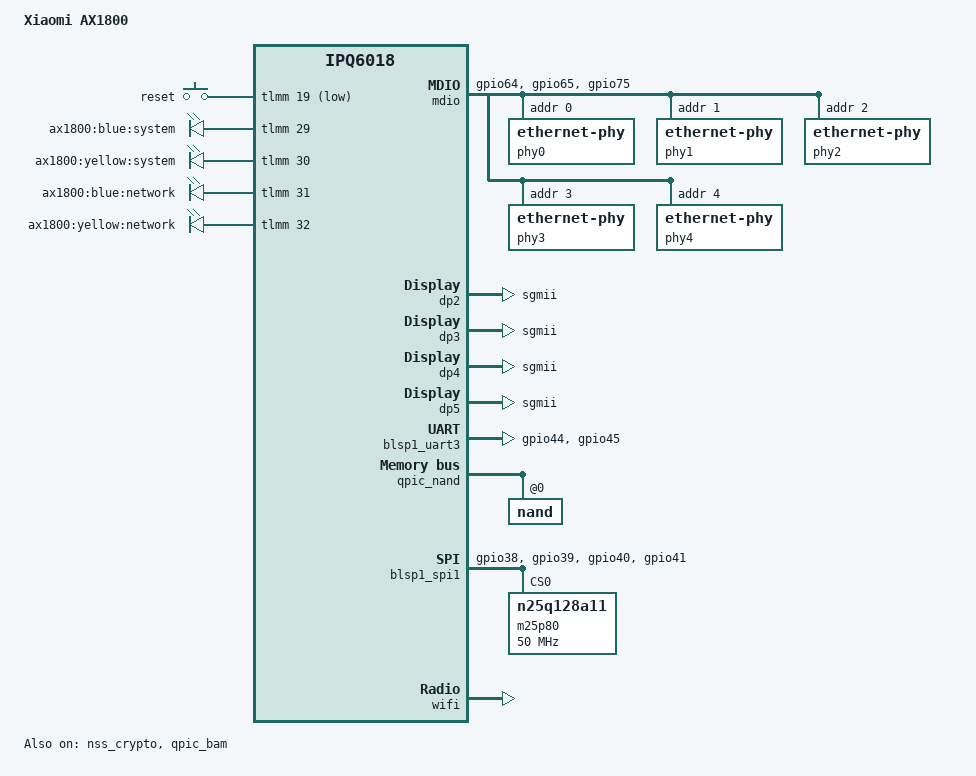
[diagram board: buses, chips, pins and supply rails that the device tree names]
// SPDX-License-Identifier: GPL-2.0-or-later OR MIT

/dts-v1/;

#include "ipq6018.dtsi"
#include "ipq6018-ess.dtsi"
#include "ipq6018-cpr-regulator.dtsi"
#include "ipq6018-nss.dtsi"

#include <dt-bindings/input/input.h>
#include <dt-bindings/gpio/gpio.h>

/ {
	#address-cells = <0x2>;
	#size-cells = <0x2>;
	model = "Xiaomi AX1800";
	compatible = "xiaomi,ax1800", "qcom,ipq6018";
	interrupt-parent = <&intc>;
	qcom,msm-id = <0x192 0x0>;

	aliases {
		led-boot = &led_yellow;
		led-failsafe = &led_blue;
		led-running = &led_blue;
		led-upgrade = &led_yellow;
		serial0 = &blsp1_uart3;

		ethernet1 = "/soc/dp2";
		ethernet2 = "/soc/dp3";
		ethernet3 = "/soc/dp4";
		ethernet4 = "/soc/dp5";
	};

	chosen {
		bootargs-append = " root=/dev/ubiblock0_1 swiotlb=1 coherent_pool=2M";
	};

	soc {
		mdio: mdio@90000 {
			pinctrl-0 = <&mdio_pins>;
			pinctrl-names = "default";
			phy-reset-gpio = <&tlmm 75 0>;
			status = "ok";

			phy0: ethernet-phy@0 {
				reg = <0>;
			};
			phy1: ethernet-phy@1 {
				reg = <1>;
			};
			phy2: ethernet-phy@2 {
				reg = <2>;
			};
			phy3: ethernet-phy@3 {
				reg = <3>;
			};
			phy4: ethernet-phy@4 {
				reg = <4>;
			};
		};

		ess-switch@3a000000 {
			switch_cpu_bmp = <0x1>;  /* cpu port bitmap */
			switch_lan_bmp = <0x1e>; /* lan port bitmap */
			switch_wan_bmp = <0x20>; /* wan port bitmap */
			switch_inner_bmp = <0xc0>; /*inner port bitmap*/
			switch_mac_mode = <0x0>; /* mac mode for uniphy 0*/
			switch_mac_mode1 = <0xff>; /* mac mode for uniphy 1*/
			switch_mac_mode2 = <0xff>; /* mac mode for uniphy 2*/

			qcom,port_phyinfo {
				port@0 {
					port_id = <1>;
					phy_address = <0>;
				};
				port@1 {
					port_id = <2>;
					phy_address = <1>;
				};
				port@2 {
					port_id = <3>;
					phy_address = <2>;
				};
				port@3 {
					port_id = <4>;
					phy_address = <3>;
				};
				port@4 {
					port_id = <5>;
					phy_address = <4>;
				};
			};
		};

		dp2 {
			device_type = "network";
			compatible = "qcom,nss-dp";
			qcom,id = <2>;
			reg = <0x3a001200 0x200>;
			qcom,mactype = <0>;
			local-mac-address = [000000000000];
			qcom,link-poll = <1>;
			qcom,phy-mdio-addr = <1>;
			phy-mode = "sgmii";
		};

		dp3 {
			device_type = "network";
			compatible = "qcom,nss-dp";
			qcom,id = <3>;
			reg = <0x3a001400 0x200>;
			qcom,mactype = <0>;
			local-mac-address = [000000000000];
			qcom,link-poll = <1>;
			qcom,phy-mdio-addr = <2>;
			phy-mode = "sgmii";
		};

		dp4 {
			device_type = "network";
			compatible = "qcom,nss-dp";
			qcom,id = <4>;
			reg = <0x3a001600 0x200>;
			qcom,mactype = <0>;
			local-mac-address = [000000000000];
			qcom,link-poll = <1>;
			qcom,phy-mdio-addr = <3>;
			phy-mode = "sgmii";
		};

		dp5 {
			device_type = "network";
			compatible = "qcom,nss-dp";
			qcom,id = <5>;
			reg = <0x3a001800 0x200>;
			qcom,mactype = <0>;
			local-mac-address = [000000000000];
			qcom,link-poll = <1>;
			qcom,phy-mdio-addr = <4>;
			phy-mode = "sgmii";
		};
	};

	gpio_keys {
		compatible = "gpio-keys";
		pinctrl-0 = <&button_pins>;
		pinctrl-names = "default";

		reset {
			label = "reset";
			linux,code = <KEY_RESTART>;
			gpios = <&tlmm 19 GPIO_ACTIVE_LOW>;
			linux,input-type = <1>;
			debounce-interval = <60>;
		};
	};

	leds {
		compatible = "gpio-leds";
		pinctrl-0 = <&leds_pins>;
		pinctrl-names = "default";

		led_blue: system-blue {
			label = "ax1800:blue:system";
			gpios = <&tlmm 29 GPIO_ACTIVE_HIGH>;
		};

		led_yellow: system-yellow {
			label = "ax1800:yellow:system";
			gpios = <&tlmm 30 GPIO_ACTIVE_HIGH>;
		};

		network-blue {
			label = "ax1800:blue:network";
			gpios = <&tlmm 31 GPIO_ACTIVE_HIGH>;
		};

		network-yellow {
			label = "ax1800:yellow:network";
			gpios = <&tlmm 32 GPIO_ACTIVE_HIGH>;
		};
	};
};

&tlmm {
	button_pins: button_pins {
		reset_button {
			pins = "gpio19";
			function = "gpio";
			drive-strength = <8>;
			bias-pull-up;
		};
	};

	spi_0_pins: spi_0_pins {
		mux {
			pins = "gpio38", "gpio39",
				"gpio40", "gpio41";
			function = "blsp0_spi";
			drive-strength = <8>;
			bias-pull-down;
		};
	};

	uart_pins: uart_pins {
		mux {
			pins = "gpio44", "gpio45";
			function = "blsp2_uart";
			drive-strength = <8>;
			bias-pull-down;
		};
	};

	mdio_pins: mdio_pinmux {
		mux_0 {
			pins = "gpio64";
			function = "mdc";
			drive-strength = <8>;
			bias-pull-up;
		};
		mux_1 {
			pins = "gpio65";
			function = "mdio";
			drive-strength = <8>;
			bias-pull-up;
		};
		mux_2 {
			pins = "gpio75";
			function = "gpio";
			bias-pull-up;
		};
	};

	leds_pins: leds_pins {
		mux {
			pins = "gpio29", "gpio30",
				"gpio31", "gpio32";
			function = "gpio";
			drive-strength = <8>;
			bias-pull-down;
		};
	};
};

&blsp1_uart3 {
	pinctrl-0 = <&uart_pins>;
	pinctrl-names = "default";
	status = "ok";
};

&qpic_nand {
	status = "okay";

	nand@0 {
		reg = <0>;

		nand-ecc-strength = <4>;
		nand-ecc-step-size = <512>;
		nand-bus-width = <8>;

		partitions {
			compatible = "qcom,smem-part";
		};
	};
};

&nss_crypto {
	status = "ok";
};

&qpic_bam {
	status = "ok";
};

&blsp1_spi1 {
	pinctrl-0 = <&spi_0_pins>;
	pinctrl-names = "default";
	cs-select = <0>;
	status = "okay";

	m25p80@0 {
		#address-cells = <1>;
		#size-cells = <1>;
		reg = <0>;
		compatible = "n25q128a11";
		//linux,modalias = "m25p80", "n25q128a11";
		spi-max-frequency = <50000000>;
		use-default-sizes;
	};
};

&wifi {
	status = "okay";

	qcom,ath11k-fw-memory-mode = <1>;
	qcom,ath11k-calibration-variant = "Xiaomi-AX1800";
};
